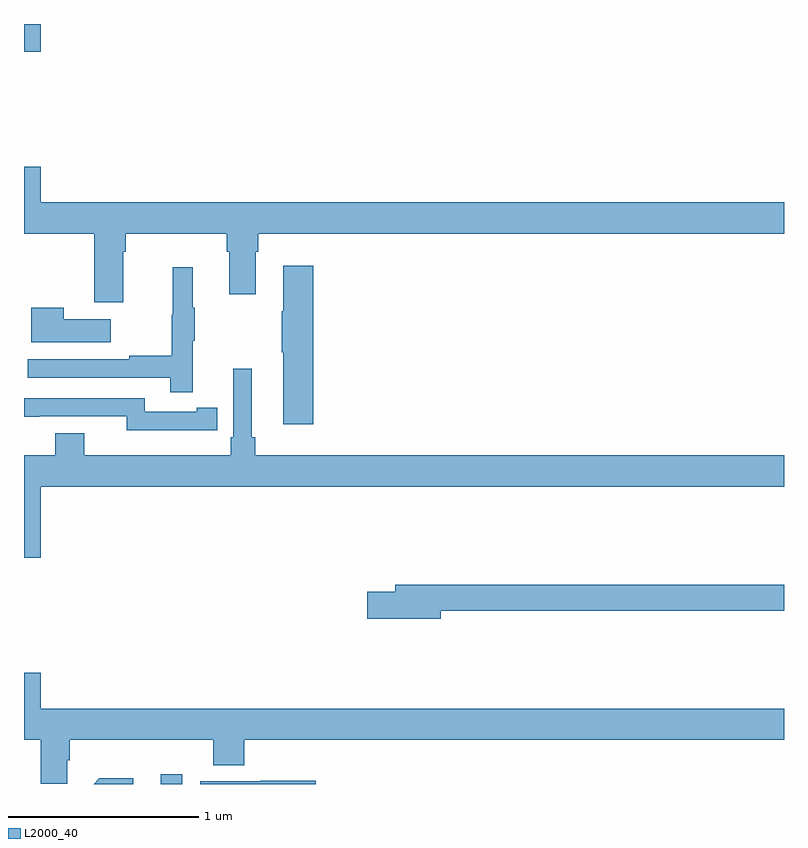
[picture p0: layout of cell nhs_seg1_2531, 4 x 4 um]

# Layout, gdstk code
import gdstk
lib = gdstk.Library(unit=1e-6, precision=1e-09)
def R(c, l, rs):  # rectangles x0, y0, x1, y1
    for r in rs: c.add(gdstk.rectangle(r[:2], r[2:], *l))
def P(c, l, *ps):  # polygons
    for p in ps: c.add(gdstk.Polygon(p, *l))
L2000_40 = (2000, 40)

nhs_seg1_2531 = lib.new_cell('nhs_seg1_2531')
R(nhs_seg1_2531, L2000_40, [(249.719,518.199,249.834,518.251), (249,522.054,249.088,522.199)])
P(nhs_seg1_2531, L2000_40, [(249.523,521),(249.536,521),(249.536,521.096),(250.067,521.096),(250.067,521),(250.079,521),(250.079,520.776),(250.219,520.776),(250.219,521),(250.232,521),(250.232,521.096),(253,521.096),(253,521.26),(249.088,521.26),(249.088,521.449),(249,521.449),(249,521.096),(249.371,521.096),(249.371,520.734),(249.523,520.734)],
  [(250.523,520.927),(250.364,520.927),(250.364,520.688),(250.357,520.688),(250.357,520.471),(250.364,520.471),(250.364,520.092),(250.523,520.092)],
  [(249.887,520.531),(249.898,520.531),(249.898,520.705),(249.887,520.705),(249.887,520.918),(249.784,520.918),(249.784,520.668),(249.777,520.668),(249.777,520.454),(249.553,520.454),(249.553,520.434),(249.021,520.434),(249.021,520.338),(249.769,520.338),(249.769,520.26),(249.887,520.26)],
  [(249.457,520.645),(249.209,520.645),(249.209,520.705),(249.038,520.705),(249.038,520.523),(249.457,520.523)],
  [(249.088,519.764),(253,519.764),(253,519.928),(250.217,519.928),(250.217,520.024),(250.198,520.024),(250.198,520.384),(250.101,520.384),(250.101,520.024),(250.088,520.024),(250.088,519.928),(249.316,519.928),(249.316,520.045),(249.164,520.045),(249.164,519.928),(249,519.928),(249,519.39),(249.088,519.39)],
  [(249.908,520.062),(250.016,520.062),(250.016,520.178),(249.908,520.178),(249.908,520.158),(249.636,520.158),(249.636,520.23),(249,520.23),(249,520.133),(249.08,520.133),(249.08,520.134),(249.54,520.134),(249.54,520.061),(249.908,520.061)],
  [(251.194,519.112),(253,519.112),(253,519.248),(250.955,519.248),(250.955,519.212),(250.806,519.212),(250.806,519.07),(251.194,519.07)],
  [(249.228,518.323),(249.242,518.323),(249.242,518.432),(249.995,518.432),(249.995,518.299),(250.16,518.299),(250.16,518.432),(253,518.432),(253,518.596),(249.088,518.596),(249.088,518.785),(249,518.785),(249,518.432),(249.089,518.432),(249.089,518.2),(249.228,518.2)],
  [(249.574,518.228),(249.395,518.228),(249.366,518.199),(249.574,518.199)],
  [(250.535,518.216),(250.243,518.216),(250.243,518.214),(249.927,518.214),(249.927,518.199),(250.535,518.199)])

lib.write_gds('nhs_seg1_2531.gds')
